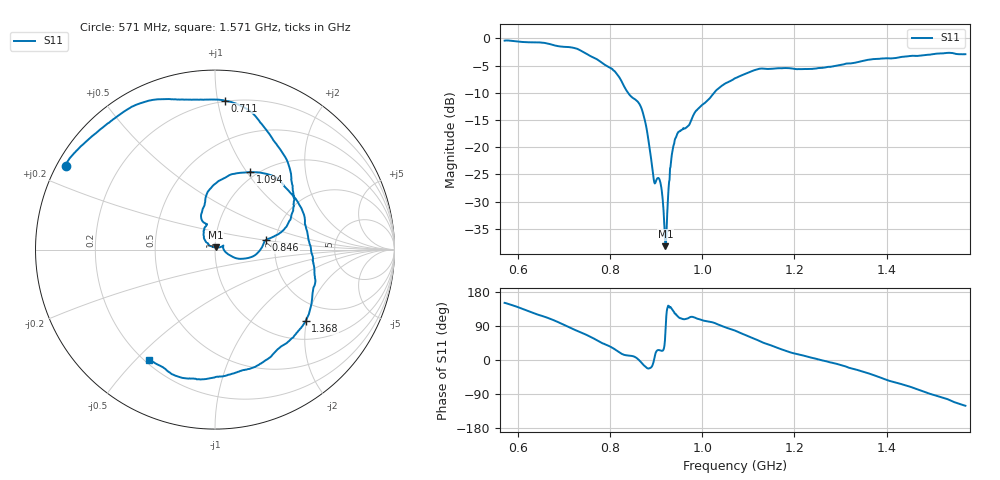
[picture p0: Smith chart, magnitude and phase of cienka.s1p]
# GHZ S DB R 50.000000000000
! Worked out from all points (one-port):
!   1001 points, 571 MHz to 1.571 GHz, reference 50 ohm
!   lowest |S11| = -38.2 dB at 920 MHz (marker M1), VSWR 1.02, Z = 50.4 + j1.18 ohm
!   |S11| at or under -10 dB: 838.8 MHz to 1.026 GHz (186.9 MHz wide, 20.1 % of centre)
!   S11 on the Smith chart (normalised r, x): 571 MHz: 0.03, +0.26; 711 MHz: 0.19, +1.05; 846 MHz: 1.78, +0.21; 1.094 GHz: 0.93, +1.04; 1.368 GHz: 1.46, -1.97; 1.571 GHz: 0.22, -0.55
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0.571  -0.41 150.8
0.643  -0.72 119.8
0.696  -1.53 95.0
0.711  -1.60 86.3
0.732  -2.04 74.9
0.774  -3.99 50.0
0.821  -7.30 19.5
0.846  -10.72 10.9
0.863  -12.00 -0.6
0.873  -14.28 -13.8
0.895  -26.13 -1.3
0.909  -26.48 24.9
0.917  -33.28 32.2
0.92  -38.21 72.7
0.924  -32.06 135.9
0.93  -23.92 139.7
0.935  -20.82 133.1
0.946  -17.47 116.4
1.022  -10.40 99.5
1.071  -7.34 77.7
1.094  -6.49 65.6
1.132  -5.56 45.8
1.196  -5.55 18.4
1.321  -4.61 -21.3
1.368  -3.84 -38.2
1.446  -3.30 -68.4
1.514  -2.75 -96.6
1.571  -2.91 -120.7
